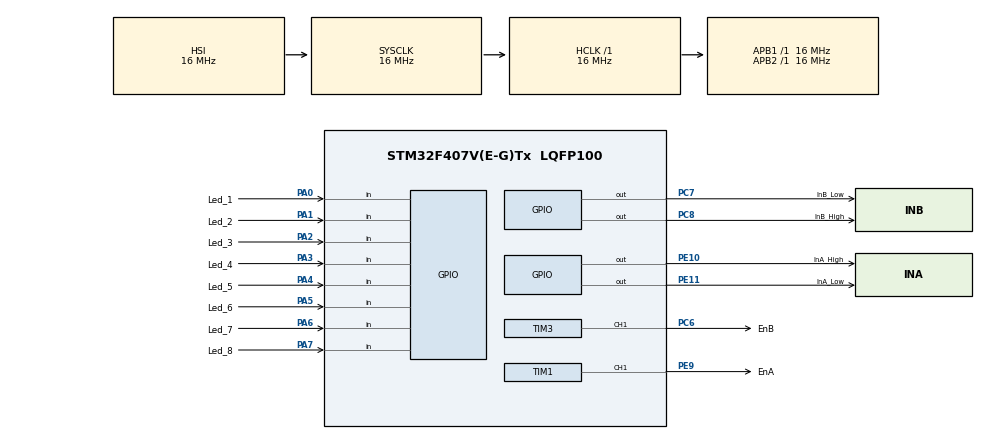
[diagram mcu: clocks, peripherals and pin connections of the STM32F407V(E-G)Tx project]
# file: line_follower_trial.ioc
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Mcu.Family=STM32F4
Mcu.Name=STM32F407V(E-G)Tx
Mcu.Package=LQFP100
NVIC.PriorityGroup=NVIC_PRIORITYGROUP_4
PA0-WKUP.GPIO_Label=Led_1
PA0-WKUP.Signal=GPIO_Input
PA1.GPIO_Label=Led_2
PA1.Signal=GPIO_Input
PA13.Mode=Serial_Wire
PA13.Signal=SYS_JTMS-SWDIO
PA14.Mode=Serial_Wire
PA14.Signal=SYS_JTCK-SWCLK
PA2.GPIO_Label=Led_3
PA2.Signal=GPIO_Input
PA3.GPIO_Label=Led_4
PA3.Signal=GPIO_Input
PA4.GPIO_Label=Led_5
PA4.Signal=GPIO_Input
PA5.GPIO_Label=Led_6
PA5.Signal=GPIO_Input
PA6.GPIO_Label=Led_7
PA6.Signal=GPIO_Input
PA7.GPIO_Label=Led_8
PA7.Signal=GPIO_Input
PC6.GPIO_Label=EnB
PC6.Signal=S_TIM3_CH1
PC7.GPIO_Label=InB_Low
PC7.Signal=GPIO_Output
PC8.GPIO_Label=InB_High
PC8.Signal=GPIO_Output
PE10.GPIO_Label=InA_High
PE10.Signal=GPIO_Output
PE11.GPIO_Label=InA_Low
PE11.GPIO_ModeDefaultOutputPP=GPIO_MODE_OUTPUT_PP
PE11.Signal=GPIO_Output
PE9.GPIO_Label=EnA
PE9.Signal=S_TIM1_CH1
PH0-OSC_IN.Mode=HSE-External-Oscillator
PH0-OSC_IN.Signal=RCC_OSC_IN
PH1-OSC_OUT.Mode=HSE-External-Oscillator
PH1-OSC_OUT.Signal=RCC_OSC_OUT
ProjectManager.HeapSize=0x200
ProjectManager.StackSize=0x400
ProjectManager.TargetToolchain=MDK-ARM V5.27
RCC.48MHZClocksFreq_Value=53760000
RCC.AHBFreq_Value=16000000
RCC.APB1Freq_Value=16000000
RCC.APB1TimFreq_Value=16000000
RCC.APB2Freq_Value=16000000
RCC.APB2TimFreq_Value=16000000
RCC.CortexFreq_Value=16000000
RCC.HCLKFreq_Value=16000000
RCC.HSE_VALUE=25000000
RCC.HSI_VALUE=16000000
RCC.LSE_VALUE=32768
RCC.PLLM=25
RCC.PLLN=336
RCC.SYSCLKFreq_VALUE=16000000
RCC.VCOOutputFreq_Value=215040000
SH.S_TIM1_CH1.0=TIM1_CH1,PWM Generation1 CH1
SH.S_TIM3_CH1.0=TIM3_CH1,PWM Generation1 CH1
TIM1.AutoReloadPreload=TIM_AUTORELOAD_PRELOAD_ENABLE
TIM1.Channel-PWM\ Generation1\ CH1=TIM_CHANNEL_1
TIM1.Period=79
TIM1.Prescaler=19
TIM3.Channel-PWM\ Generation1\ CH1=TIM_CHANNEL_1
board=custom

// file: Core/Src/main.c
/* USER CODE BEGIN Header */
/**
  ******************************************************************************
  * @file           : main.c
  * @brief          : Main program body
  ******************************************************************************
  * @attention
  *
  * <h2><center>&copy; Copyright (c) 2020 STMicroelectronics.
  * All rights reserved.</center></h2>
  *
  * This software component is licensed by ST under BSD 3-Clause license,
  * the "License"; You may not use this file except in compliance with the
  * License. You may obtain a copy of the License at:
  *                        opensource.org/licenses/BSD-3-Clause
  *
  ******************************************************************************
  */
/* USER CODE END Header */
#include "main.h"
#include "stdlib.h"
#include "stdio.h"

TIM_HandleTypeDef htim1;
TIM_HandleTypeDef htim3;

/* USER CODE BEGIN PV */
int black=0;
int white=0;
int value=0;
int counter=0;
int a=0;
int b=0;
int enableB=0;
int pwmA=0;
int pwmB=0;
int *t;
int tmax;
int tmin=100000;
int arr[2];
int black1;
int white1;
int k;
int v;
int sum1;
int sum2;
int SensorError;
int * t ;
int * number;
int sens1;
int sens2;
int sens3;
int sens4;
int sens5;
int sens6;
int sens7;
int sens8;
int meanValue;
int keep;
int pid=0;
int p=0;
int i=0;
int d=0;
int pidErr;

/* USER CODE END PV */

void SystemClock_Config(void);
static void MX_GPIO_Init(void);
static void MX_TIM1_Init(void);
static void MX_TIM3_Init(void);
/* USER CODE BEGIN PFP */
int MeanSquareError();
int getValue(void);
int go(int enableA,int enableB);
void stop();
int MaxAndMin(int array[]);
int PID (int kp, int ki, double kd);
//int * getArrayValues(  );

/* USER CODE END PFP */

/* USER CODE BEGIN 0 */
void init(void){

	//get measurment from floor
	//when engine is moving try to catch the biggest number and smallest number
	//go(20,0);
		HAL_GPIO_WritePin(GPIOE,InA_High_Pin,GPIO_PIN_SET);
		HAL_GPIO_WritePin(GPIOE,InA_Low_Pin,GPIO_PIN_RESET);

		HAL_GPIO_WritePin(GPIOA,InB_High_Pin,GPIO_PIN_SET);
		HAL_GPIO_WritePin(GPIOA,InB_Low_Pin,GPIO_PIN_RESET);

		__HAL_TIM_SET_COMPARE(&htim1,TIM_CHANNEL_1,20);
		__HAL_TIM_SET_COMPARE(&htim3,TIM_CHANNEL_1,0);
		//number=getArrayValues();
		//MaxAndMin(number);
		arr[0] = black;
		arr[1] = white;
		__HAL_TIM_SET_COMPARE(&htim1,TIM_CHANNEL_1,20);
		__HAL_TIM_SET_COMPARE(&htim3,TIM_CHANNEL_1,0);
	  //number=getArrayValues();
		//MaxAndMin(number);
		arr[0] = black1;
		arr[1] = white1;
		if(black>black1){
			black=black;
		}else{
			black=black1;
		}
		if(white>white1){
			white=white;
		}else{
			white=white1;
		}
}
int go(int enableA, int enableB){
	HAL_GPIO_WritePin(GPIOE,InA_High_Pin,GPIO_PIN_SET);

	HAL_GPIO_WritePin(GPIOE,InA_Low_Pin,GPIO_PIN_RESET);

	HAL_GPIO_WritePin(GPIOA,InB_High_Pin,GPIO_PIN_SET);
	HAL_GPIO_WritePin(GPIOA,InB_Low_Pin,GPIO_PIN_RESET);

	__HAL_TIM_SET_COMPARE(&htim1,TIM_CHANNEL_1,enableA);
	__HAL_TIM_SET_COMPARE(&htim3,TIM_CHANNEL_1,enableB);
	return 0;

}
int back(void){
	return 0;
}
void stop(){

}

//int * getArrayValues( void ){
//	int *arrForAll=(int*)malloc(sizeof(int)*8);
//	int Leds[8];
//	Leds[0]=Led_1_Pin;
//	Leds[1]=Led_2_Pin;
//	Leds[2]=Led_3_Pin;
//	Leds[3]=Led_4_Pin;
//	Leds[4]=Led_5_Pin;
//	Leds[5]=Led_6_Pin;
//	Leds[6]=Led_7_Pin;
//	Leds[7]=Led_8_Pin;
//	//initial values from the floor
//	for(int i=0;i<sizeof(arrForAll);i++){
//		arrForAll[i]=getValue(Leds[i]);
//	}
//	return arrForAll;
//}
int MaxAndMin(int array[]){
	v=0;
	arr[0]=0;
	k=0;
	arr[1]=0;
	int * t = (int*)malloc(sizeof(int)*8);
	t=array;
	for(int i=0;i<8;i++){
		for(int j=0;j<7;j++){
			if(t[i]>=t[j] && t[i]>=tmax){
				tmax=t[i];
				arr[0]=t[i];
				v=arr[0];
				if (v>=530000000 || v<=0 ){
					v=1000;
				}
			}else{
				break;
			}
		}

	}
	for(int i=0;i<8;i++){
			for(int j=0;j<7;j++){
				if(t[i]<=t[j] && t[i]<=tmin){
					tmin=t[i];
					arr[1]=t[i];
					k=arr[1];
				}else{
					break;
			}
		}

	}
}
int getValue(void){
	sens1=0;
  sens2=0;
  sens3=0;
  sens4=0;
  sens5=0;
  sens6=0;
  sens7=0;
  sens8=0;
	for(int i=0;i<5000;i++){
		if (HAL_GPIO_ReadPin (GPIOA, Led_1_Pin)==0) sens1++;
		if (HAL_GPIO_ReadPin (GPIOA, Led_2_Pin)==0) sens2++;
		if (HAL_GPIO_ReadPin (GPIOA, Led_3_Pin)==0) sens3++;
		if (HAL_GPIO_ReadPin (GPIOA, Led_4_Pin)==0) sens4++;
		if (HAL_GPIO_ReadPin (GPIOA, Led_5_Pin)==0) sens5++;
		if (HAL_GPIO_ReadPin (GPIOA, Led_6_Pin)==0) sens6++;
		if (HAL_GPIO_ReadPin (GPIOA, Led_7_Pin)==0) sens7++;
		if (HAL_GPIO_ReadPin (GPIOA, Led_8_Pin)==0) sens8++;}

	}

int MeanSquareError(){
		// firtsly it takes all values. The middle one is the reference value for us
		// if the middle one is 0 and all others square distance to reference one
		// should be "0" if it is not zero that means there is some kind of error
		// which is given by the formula : RSV(referenceSensorValue)=(Sensor4 + Sensor5)/2
		// 1/2*m(sum((RSV-Sensor[6,7,8])^2)(this is the for left part) - sum((RSV-Sensor[1,2,3])^2) which will decide which side robot will turn and
		// what is the instensity of the error if the error is zero which means robot goes very well)

		getValue();
		meanValue=(sens4+sens5)/2;
		sum1=(((sens1*8/1000)*3)^2)+(((sens2*4)*2/1000)^2)+(((sens3*2)/1000)^2);
		sum2=(((sens8*8/1000)*3)^2)+(((sens7*4)*2/1000)^2)+(((sens6*2)/1000)^2);
//			getValue();
//			if(sens4==0 && sens5==0){
//
//			SensorError=5;
//
//			}else if(sens4==0){
//					SensorError = 4;
//				if(sens3==0){
//					SensorError = 3;
//				}
//
//
//			}else if(sens3==0){
//				SensorError = 3;
//				if(sens2==0){
//					SensorError = 2;
//				}
//
//			}else if(sens2==0){
//			SensorError = 2;
//				if(sens1==0){
//					SensorError = 1;
//				}
//
//			}else if(sens1==0 || sens2!=0){
//			SensorError = 0;
//
//			}
//			if(sens5==0){
//				SensorError = 5;
//				if(sens6==0){
//					SensorError = 6;
//				}
//
//			}
//			if(sens6==0){
//			SensorError = 6;
//			if(sens7==0){
//					SensorError = 7;
//			}
//			}
//			if(sens7==0){
//			SensorError = 7;
//				if(sens8==0){
//					SensorError = 8;
//			}
//			}
//			if(sens8==0 || sens7!=0){
//			SensorError = 9;
//
//			}
			SensorError=sum1-sum2;
			return SensorError;

		// if sum1 is bigger than sum2 the robot have to turn left otherwise
		// it would turn right if the error is  much higher than we think pwm signal generator regulate itself
		// okay lets export error;
//		SensorError = (sum1 - sum2) * 1/2;
//	  if (sens8==0 && sens7!=0){
//			SensorError=-20000;
//			keep = sens8;
//		}
//		if (sens1==0 && sens2!=0){
//			SensorError=20000;
//			keep = sens1;
//		}
//			if (sens1!=0 && sens2!=0 && sens3!=0 && sens4!=0 && sens5!=0 && sens6!=0 && sens7!=0 && sens8!=0){
//				//keep where is the last zero place it is 8 or 1
//				if (keep == sens8){
//					SensorError=-30000;
//				}else if(keep == sens1){
//				SensorError=30000;
//				}
//
//		}
		return SensorError;
}
int PID(int kp,	 int ki, double kd){
	MeanSquareError();
	if(pid==0){
		keep=0;
		i=0;
	}
	p=sum1/sum2;
	i=SensorError+i;
	d=SensorError-keep;
	keep=SensorError;
	pid=p*kp+i*ki+d*kd;
	return pid;

}
int selfLearnAlgo(int areaArray[]){
	//change Area arrays response to with respect to alpha values
	//in this section kp ki kd values will be selected by supervised algorithm
	return 0 ;
}
/* USER CODE END 0 */

int main(void)
{

  /* MCU Configuration--------------------------------------------------------*/

  /* Reset of all peripherals, Initializes the Flash interface and the Systick. */
  HAL_Init();

  /* USER CODE BEGIN Ini1 */

  /* USER CODE END Init */

  /* Configure the system clock */
  SystemClock_Config();

  /* Initialize all configured peripherals */
  MX_GPIO_Init();
  MX_TIM1_Init();
  MX_TIM3_Init();
  /* USER CODE BEGIN 2 */
	HAL_TIM_PWM_Start(&htim3, TIM_CHANNEL_1);
	HAL_TIM_PWM_Start(&htim1, TIM_CHANNEL_1);
//	__HAL_TIM_SET_COMPARE(&htim1, TIM_CHANNEL_1,pwmA);
//	__HAL_TIM_SET_COMPARE(&htim2, TIM_CHANNEL_1,pwmB);

  /* USER CODE END 2 */

  /* Infinite loop */
  while (1)
  {

    /* USER CODE BEGIN 3 */
		HAL_Delay(50);
		pidErr=PID(1,2,0.2);
		if(sens4==0){

			if(sens3 != 0){
				pidErr=0;
				pid=0;
			}
			}
		if(sens5==0){

			if(sens6 != 0){
				pidErr=0;
				pid=0;
			}
			}
		if (pidErr>50){
			pidErr=50;
		}
		if (pidErr<-50){
			pidErr=-50;
		}
		pwmA = 50 + pidErr;
		pwmB = 50 - pidErr;

		__HAL_TIM_SET_COMPARE(&htim1, TIM_CHANNEL_1,pwmA);
		__HAL_TIM_SET_COMPARE(&htim3, TIM_CHANNEL_1,pwmB);

//		number=getArrayValues();
//		sens1=number[1];
//		sens2=number[2];
//		sens3=number[3];
//		sens4=number[4];
//		sens5=number[5];
//		sens6=number[6];
//		sens7=number[7];
//		sens8=number[8];
////		MaxAndMin(number);
////		MeanSquareError(number);
//		HAL_Delay(300);
		//init();
//
//		while(HAL_GPIO_ReadPin(GPIOA,Led_1_Pin){
//			value++;
//		}
//		HAL_Delay(500);
	}
  /* USER CODE END 3 */
}

void SystemClock_Config(void)
{
  RCC_OscInitTypeDef RCC_OscInitStruct = {0};
  RCC_ClkInitTypeDef RCC_ClkInitStruct = {0};

  /** Configure the main internal regulator output voltage
  */
  __HAL_RCC_PWR_CLK_ENABLE();
  __HAL_PWR_VOLTAGESCALING_CONFIG(PWR_REGULATOR_VOLTAGE_SCALE1);
  /** Initializes the RCC Oscillators according to the specified parameters
  * in the RCC_OscInitTypeDef structure.
  */
  RCC_OscInitStruct.OscillatorType = RCC_OSCILLATORTYPE_HSI;
  RCC_OscInitStruct.HSIState = RCC_HSI_ON;
  RCC_OscInitStruct.HSICalibrationValue = RCC_HSICALIBRATION_DEFAULT;
  RCC_OscInitStruct.PLL.PLLState = RCC_PLL_NONE;
  if (HAL_RCC_OscConfig(&RCC_OscInitStruct) != HAL_OK)
  {
    Error_Handler();
  }
  /** Initializes the CPU, AHB and APB buses clocks
  */
  RCC_ClkInitStruct.ClockType = RCC_CLOCKTYPE_HCLK|RCC_CLOCKTYPE_SYSCLK
                              |RCC_CLOCKTYPE_PCLK1|RCC_CLOCKTYPE_PCLK2;
  RCC_ClkInitStruct.SYSCLKSource = RCC_SYSCLKSOURCE_HSI;
  RCC_ClkInitStruct.AHBCLKDivider = RCC_SYSCLK_DIV1;
  RCC_ClkInitStruct.APB1CLKDivider = RCC_HCLK_DIV1;
  RCC_ClkInitStruct.APB2CLKDivider = RCC_HCLK_DIV1;

  if (HAL_RCC_ClockConfig(&RCC_ClkInitStruct, FLASH_LATENCY_0) != HAL_OK)
  {
    Error_Handler();
  }
}

static void MX_TIM1_Init(void)
{

  TIM_MasterConfigTypeDef sMasterConfig = {0};
  TIM_OC_InitTypeDef sConfigOC = {0};
  TIM_BreakDeadTimeConfigTypeDef sBreakDeadTimeConfig = {0};

  htim1.Instance = TIM1;
  htim1.Init.Prescaler = 79;
  htim1.Init.CounterMode = TIM_COUNTERMODE_UP;
  htim1.Init.Period = 99;
  htim1.Init.ClockDivision = TIM_CLOCKDIVISION_DIV1;
  htim1.Init.RepetitionCounter = 0;
  htim1.Init.AutoReloadPreload = TIM_AUTORELOAD_PRELOAD_ENABLE;
  if (HAL_TIM_PWM_Init(&htim1) != HAL_OK)
  {
    Error_Handler();
  }
  sMasterConfig.MasterOutputTrigger = TIM_TRGO_RESET;
  sMasterConfig.MasterSlaveMode = TIM_MASTERSLAVEMODE_DISABLE;
  if (HAL_TIMEx_MasterConfigSynchronization(&htim1, &sMasterConfig) != HAL_OK)
  {
    Error_Handler();
  }
  sConfigOC.OCMode = TIM_OCMODE_PWM1;
  sConfigOC.Pulse = 0;
  sConfigOC.OCPolarity = TIM_OCPOLARITY_HIGH;
  sConfigOC.OCNPolarity = TIM_OCNPOLARITY_HIGH;
  sConfigOC.OCFastMode = TIM_OCFAST_DISABLE;
  sConfigOC.OCIdleState = TIM_OCIDLESTATE_RESET;
  sConfigOC.OCNIdleState = TIM_OCNIDLESTATE_RESET;
  if (HAL_TIM_PWM_ConfigChannel(&htim1, &sConfigOC, TIM_CHANNEL_1) != HAL_OK)
  {
    Error_Handler();
  }
  sBreakDeadTimeConfig.OffStateRunMode = TIM_OSSR_DISABLE;
  sBreakDeadTimeConfig.OffStateIDLEMode = TIM_OSSI_DISABLE;
  sBreakDeadTimeConfig.LockLevel = TIM_LOCKLEVEL_OFF;
  sBreakDeadTimeConfig.DeadTime = 0;
  sBreakDeadTimeConfig.BreakState = TIM_BREAK_DISABLE;
  sBreakDeadTimeConfig.BreakPolarity = TIM_BREAKPOLARITY_HIGH;
  sBreakDeadTimeConfig.AutomaticOutput = TIM_AUTOMATICOUTPUT_DISABLE;
  if (HAL_TIMEx_ConfigBreakDeadTime(&htim1, &sBreakDeadTimeConfig) != HAL_OK)
  {
    Error_Handler();
  }
  HAL_TIM_MspPostInit(&htim1);

}

static void MX_TIM3_Init(void)
{

  TIM_MasterConfigTypeDef sMasterConfig = {0};
  TIM_OC_InitTypeDef sConfigOC = {0};

  htim3.Instance = TIM3;
  htim3.Init.Prescaler = 79;
  htim3.Init.CounterMode = TIM_COUNTERMODE_UP;
  htim3.Init.Period = 99;
  htim3.Init.ClockDivision = TIM_CLOCKDIVISION_DIV1;
  htim3.Init.AutoReloadPreload = TIM_AUTORELOAD_PRELOAD_DISABLE;
  if (HAL_TIM_PWM_Init(&htim3) != HAL_OK)
  {
    Error_Handler();
  }
  sMasterConfig.MasterOutputTrigger = TIM_TRGO_RESET;
  sMasterConfig.MasterSlaveMode = TIM_MASTERSLAVEMODE_DISABLE;
  if (HAL_TIMEx_MasterConfigSynchronization(&htim3, &sMasterConfig) != HAL_OK)
  {
    Error_Handler();
  }
  sConfigOC.OCMode = TIM_OCMODE_PWM1;
  sConfigOC.Pulse = 0;
  sConfigOC.OCPolarity = TIM_OCPOLARITY_HIGH;
  sConfigOC.OCFastMode = TIM_OCFAST_DISABLE;
  if (HAL_TIM_PWM_ConfigChannel(&htim3, &sConfigOC, TIM_CHANNEL_1) != HAL_OK)
  {
    Error_Handler();
  }
  HAL_TIM_MspPostInit(&htim3);

}

static void MX_GPIO_Init(void)
{
  GPIO_InitTypeDef GPIO_InitStruct = {0};

  /* GPIO Ports Clock Enable */
  __HAL_RCC_GPIOH_CLK_ENABLE();
  __HAL_RCC_GPIOA_CLK_ENABLE();
  __HAL_RCC_GPIOE_CLK_ENABLE();
  __HAL_RCC_GPIOC_CLK_ENABLE();

  /*Configure GPIO pin Output Level */
  HAL_GPIO_WritePin(GPIOE, InA_High_Pin|InA_Low_Pin, GPIO_PIN_RESET);

  /*Configure GPIO pin Output Level */
  HAL_GPIO_WritePin(GPIOC, InB_Low_Pin|InB_High_Pin, GPIO_PIN_RESET);

  /*Configure GPIO pins : Led_1_Pin Led_2_Pin Led_3_Pin Led_4_Pin
                           Led_5_Pin Led_6_Pin Led_7_Pin Led_8_Pin */
  GPIO_InitStruct.Pin = Led_1_Pin|Led_2_Pin|Led_3_Pin|Led_4_Pin
                          |Led_5_Pin|Led_6_Pin|Led_7_Pin|Led_8_Pin;
  GPIO_InitStruct.Mode = GPIO_MODE_INPUT;
  GPIO_InitStruct.Pull = GPIO_PULLUP;
  HAL_GPIO_Init(GPIOA, &GPIO_InitStruct);

  /*Configure GPIO pins : InA_High_Pin InA_Low_Pin */
  GPIO_InitStruct.Pin = InA_High_Pin|InA_Low_Pin;
  GPIO_InitStruct.Mode = GPIO_MODE_OUTPUT_PP;
  GPIO_InitStruct.Pull = GPIO_NOPULL;
  GPIO_InitStruct.Speed = GPIO_SPEED_FREQ_LOW;
  HAL_GPIO_Init(GPIOE, &GPIO_InitStruct);

  /*Configure GPIO pins : InB_Low_Pin InB_High_Pin */
  GPIO_InitStruct.Pin = InB_Low_Pin|InB_High_Pin;
  GPIO_InitStruct.Mode = GPIO_MODE_OUTPUT_PP;
  GPIO_InitStruct.Pull = GPIO_NOPULL;
  GPIO_InitStruct.Speed = GPIO_SPEED_FREQ_LOW;
  HAL_GPIO_Init(GPIOC, &GPIO_InitStruct);

}

void Error_Handler(void)
{
  __disable_irq();
  while (1)
  {
  }
}

/************************ (C) COPYRIGHT STMicroelectronics *****END OF FILE****/
